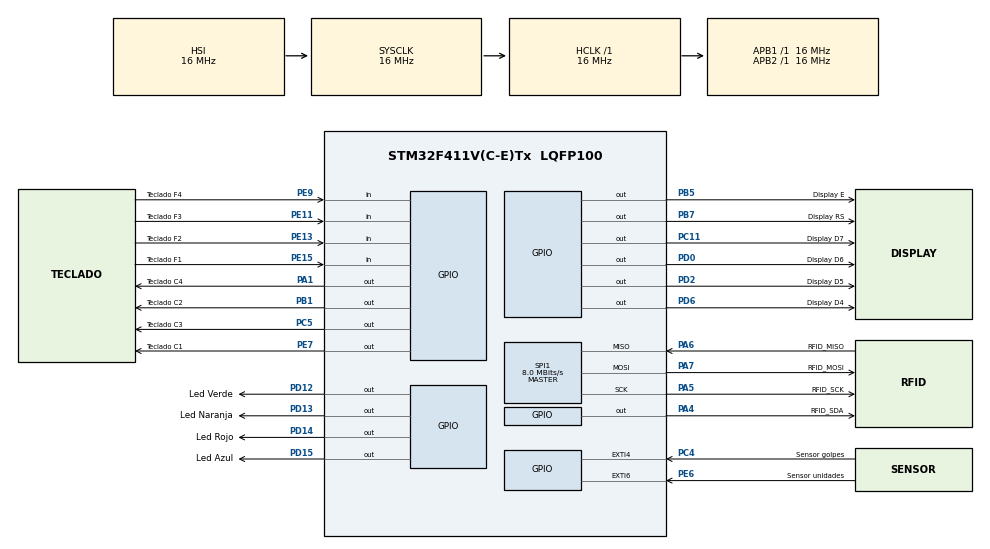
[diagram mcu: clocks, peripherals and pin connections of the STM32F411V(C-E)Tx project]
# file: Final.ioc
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Mcu.Family=STM32F4
Mcu.Name=STM32F411V(C-E)Tx
Mcu.Package=LQFP100
NVIC.EXTI4_IRQn=true\:0\:0\:false\:false\:true\:true
NVIC.EXTI9_5_IRQn=true\:0\:0\:false\:false\:true\:true
NVIC.PriorityGroup=NVIC_PRIORITYGROUP_4
NVIC.TIM3_IRQn=true\:0\:0\:false\:false\:true\:true
NVIC.TIM4_IRQn=true\:0\:0\:false\:false\:true\:true
PA1.GPIO_Label=Teclado C4
PA1.Signal=GPIO_Output
PA4.GPIO_Label=RFID_SDA
PA4.Signal=GPIO_Output
PA5.GPIO_Label=RFID_SCK
PA5.Mode=Full_Duplex_Master
PA5.Signal=SPI1_SCK
PA6.GPIO_Label=RFID_MISO
PA6.Mode=Full_Duplex_Master
PA6.Signal=SPI1_MISO
PA7.GPIO_Label=RFID_MOSI
PA7.Mode=Full_Duplex_Master
PA7.Signal=SPI1_MOSI
PB1.GPIO_Label=Teclado C2
PB1.Signal=GPIO_Output
PB5.GPIO_Label=Display E
PB5.GPIO_Speed=GPIO_SPEED_FREQ_HIGH
PB5.Signal=GPIO_Output
PB7.GPIO_Label=Display RS
PB7.GPIO_Speed=GPIO_SPEED_FREQ_HIGH
PB7.Signal=GPIO_Output
PC11.GPIO_Label=Display D7
PC11.GPIO_Speed=GPIO_SPEED_FREQ_HIGH
PC11.Signal=GPIO_Output
PC4.GPIO_Label=Sensor golpes
PC4.Signal=GPXTI4
PC5.GPIO_Label=Teclado C3
PC5.Signal=GPIO_Output
PD0.GPIO_Label=Display D6
PD0.GPIO_Speed=GPIO_SPEED_FREQ_HIGH
PD0.Signal=GPIO_Output
PD12.GPIO_Label=Led Verde
PD12.Signal=GPIO_Output
PD13.GPIO_Label=Led Naranja
PD13.Signal=GPIO_Output
PD14.GPIO_Label=Led Rojo
PD14.Signal=GPIO_Output
PD15.GPIO_Label=Led Azul
PD15.Signal=GPIO_Output
PD2.GPIO_Label=Display D5
PD2.GPIO_Speed=GPIO_SPEED_FREQ_HIGH
PD2.Signal=GPIO_Output
PD6.GPIO_Label=Display D4
PD6.GPIO_Speed=GPIO_SPEED_FREQ_HIGH
PD6.Signal=GPIO_Output
PE11.GPIO_Label=Teclado F3
PE11.Signal=GPIO_Input
PE13.GPIO_Label=Teclado F2
PE13.Signal=GPIO_Input
PE15.GPIO_Label=Teclado F1
PE15.Signal=GPIO_Input
PE6.GPIO_Label=Sensor unidades
PE6.Signal=GPXTI6
PE7.GPIO_Label=Teclado C1
PE7.Signal=GPIO_Output
PE9.GPIO_Label=Teclado F4
PE9.Signal=GPIO_Input
ProjectManager.HeapSize=0x200
ProjectManager.StackSize=0x400
ProjectManager.TargetToolchain=MDK-ARM V5
RCC.AHBFreq_Value=16000000
RCC.APB1Freq_Value=16000000
RCC.APB2Freq_Value=16000000
RCC.CortexFreq_Value=16000000
RCC.HSE_VALUE=25000000
RCC.HSI_VALUE=16000000
RCC.LSE_VALUE=32768
RCC.SYSCLKFreq_VALUE=16000000
RCC.VCOOutputFreq_Value=192000000
SPI1.CalculateBaudRate=8.0 MBits/s
SPI1.Direction=SPI_DIRECTION_2LINES
SPI1.Mode=SPI_MODE_MASTER
SPI1.VirtualType=VM_MASTER
TIM4.Period=16
VP_TIM3_VS_ClockSourceINT.Mode=Internal
VP_TIM4_VS_ClockSourceINT.Mode=Internal
board=Final

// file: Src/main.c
/**
  ******************************************************************************
  * @file           : main.c
  * @brief          : Main program body
  ******************************************************************************
  ** This notice applies to any and all portions of this file
  * that are not between comment pairs USER CODE BEGIN and
  * USER CODE END. Other portions of this file, whether
  * inserted by the user or by software development tools
  * are owned by their respective copyright owners.
  *
  * COPYRIGHT(c) 2019 STMicroelectronics
  *
  * Redistribution and use in source and binary forms, with or without modification,
  * are permitted provided that the following conditions are met:
  *   1. Redistributions of source code must retain the above copyright notice,
  *      this list of conditions and the following disclaimer.
  *   2. Redistributions in binary form must reproduce the above copyright notice,
  *      this list of conditions and the following disclaimer in the documentation
  *      and/or other materials provided with the distribution.
  *   3. Neither the name of STMicroelectronics nor the names of its contributors
  *      may be used to endorse or promote products derived from this software
  *      without specific prior written permission.
  *
  * THIS SOFTWARE IS PROVIDED BY THE COPYRIGHT HOLDERS AND CONTRIBUTORS "AS IS"
  * AND ANY EXPRESS OR IMPLIED WARRANTIES, INCLUDING, BUT NOT LIMITED TO, THE
  * IMPLIED WARRANTIES OF MERCHANTABILITY AND FITNESS FOR A PARTICULAR PURPOSE ARE
  * DISCLAIMED. IN NO EVENT SHALL THE COPYRIGHT HOLDER OR CONTRIBUTORS BE LIABLE
  * FOR ANY DIRECT, INDIRECT, INCIDENTAL, SPECIAL, EXEMPLARY, OR CONSEQUENTIAL
  * DAMAGES (INCLUDING, BUT NOT LIMITED TO, PROCUREMENT OF SUBSTITUTE GOODS OR
  * SERVICES; LOSS OF USE, DATA, OR PROFITS; OR BUSINESS INTERRUPTION) HOWEVER
  * CAUSED AND ON ANY THEORY OF LIABILITY, WHETHER IN CONTRACT, STRICT LIABILITY,
  * OR TORT (INCLUDING NEGLIGENCE OR OTHERWISE) ARISING IN ANY WAY OUT OF THE USE
  * OF THIS SOFTWARE, EVEN IF ADVISED OF THE POSSIBILITY OF SUCH DAMAGE.
  *
  ******************************************************************************
  */
#include "main.h"
#include "stm32f4xx_hal.h"

/* USER CODE BEGIN Includes */
#include "lcd_txt.h"
#include "rc522.h"
#include "MY_FLASH.h"

/* USER CODE END Includes */

SPI_HandleTypeDef hspi1;

TIM_HandleTypeDef htim3;
TIM_HandleTypeDef htim4;

/* USER CODE BEGIN PV */
/* Private variables ---------------------------------------------------------*/

#define Inicio 0
#define Menu_1 1
#define Menu_2 2
#define Menu_3 3
#define Menu_4 4
#define Menu_1x 5
#define Menu_21 6
#define Menu_22 7
#define Menu_3x 8
#define Menu_3x1 32
#define Menu_41 9
#define Menu_411 28
#define Menu_412 29
#define Menu_42 10
#define Menu_43 11
#define Menu_431 30
#define Menu_432 31
#define Menu_44 12
#define Menu_421 14
#define Menu_422 27
#define Menu_441 16
#define Menu_442 17
#define TrabajoEC_G 20 //Trabajo en curso - Golpes
#define TrabajoEC_U 21 //Trabajo en curso - Unidades
#define AgrOp_Maestro 22
#define AgrOp_Nuevo 23
#define AgrOp_Nombre 24
#define Err_TagExiste 25
#define Err_NMaestro 26

#define b_Arriba 1
#define b_Abajo 9
#define b_Derecha 6
#define b_Izquierda 4
#define b_Enter 14
#define b_Salir 12
#define b_A 3
#define b_B 7
#define b_C 11
#define b_D 15

//-----------------------
int ms_ar=30; //milisegundos anti-rebote
int tecla[16]={0,0,0,0,0,0,0,0,0,0,0,0,0,0,0,0};
int boton=0;
int operario_activo=20;
int operario_chequeado=0;
int operario_a_borrar=1;
int operario_a_master=1;
int i;
int state;
uint8_t leido;
uint8_t rxbuffer[16];
uint8_t txbuffer[16];
uint8_t CardID[5];
uint8_t MasterID[5] = {0,0,0,0,0};
char leer[32];
char escribir[640];
//-----------------------

struct Operario{
	short condicion; 		//Si condici�n==0, el operario NO est� cargado.
											//Si condici�n==1, el operario SI est� cargado pero NO es master.
											//Si condici�n==2, el operario SI est� cargado y SI es master.
	char nombre[9];
	char id[5];
	int golpes;
	int unidades;
	short productividad;
} operarios[20];

long cont_unidades=0;
long cont_golpes=0;
char str_golpes[17];
char str_unidades[17];
long total_golpes=0;
long total_unidades=0;
char id_display[11];
char str_productividad[17];
int f_unidades=0;
int f_confirmacion=0;
int flag=0;
int evento=0;

int f_boton=0; // flag boton presionado
int f_sensor=0;
int f_tarjeta=0;
int instancia=0;
/* USER CODE END PV */

void SystemClock_Config(void);
static void MX_GPIO_Init(void);
static void MX_TIM4_Init(void);
static void MX_TIM3_Init(void);
static void MX_SPI1_Init(void);

/* USER CODE BEGIN PFP */
/* Private function prototypes -----------------------------------------------*/
void delayus_block(int n);
void encuesta_teclado(void);
void display_escribir(char* linea1 ,char* linea2);
void display_unidades(void);
void introducir_texto(void);
void conv_hex(void);
void flash_guardar_operarios(void);
void flash_guardar_actual(int operario);
void flash_cargar_operarios(void);

uint8_t MFRC522_Check(uint8_t* id);
uint8_t MFRC522_Compare(uint8_t* CardID, uint8_t* CompareID);
void MFRC522_WriteRegister(uint8_t addr, uint8_t val);
uint8_t MFRC522_ReadRegister(uint8_t addr);
void MFRC522_SetBitMask(uint8_t reg, uint8_t mask);
void MFRC522_ClearBitMask(uint8_t reg, uint8_t mask);
uint8_t MFRC522_Request(uint8_t reqMode, uint8_t* TagType);
uint8_t MFRC522_ToCard(uint8_t command, uint8_t* sendData, uint8_t sendLen, uint8_t* backData, uint16_t* backLen);
uint8_t MFRC522_Anticoll(uint8_t* serNum);
void MFRC522_CalulateCRC(uint8_t* pIndata, uint8_t len, uint8_t* pOutData);
uint8_t MFRC522_SelectTag(uint8_t* serNum);
uint8_t MFRC522_Auth(uint8_t authMode, uint8_t BlockAddr, uint8_t* Sectorkey, uint8_t* serNum);
uint8_t MFRC522_Read(uint8_t blockAddr, uint8_t* recvData);
uint8_t MFRC522_Write(uint8_t blockAddr, uint8_t* writeData);
void MFRC522_Init(void);
void MFRC522_Reset(void);
void MFRC522_AntennaOn(void);
void MFRC522_AntennaOff(void);
void MFRC522_Halt(void);

/* USER CODE END PFP */

int main(void)
{

  /* MCU Configuration----------------------------------------------------------*/

  /* Reset of all peripherals, Initializes the Flash interface and the Systick. */
  HAL_Init();

  /* Configure the system clock */
  SystemClock_Config();

  /* Initialize all configured peripherals */
  MX_GPIO_Init();
  MX_TIM4_Init();
  MX_TIM3_Init();
  MX_SPI1_Init();
  /* USER CODE BEGIN 2 */

	LCD_ini();
	HAL_Delay(3);
	LCD_Clear();
	HAL_Delay(3);
	LCD_SetPos(0,0);
	HAL_Delay(3);
	LCD_CursorOff();
	HAL_Delay(3);

	MFRC522_Init();

	//TECLADO - Apago todo
	HAL_GPIO_WritePin(Teclado_C1_GPIO_Port, Teclado_C1_Pin, GPIO_PIN_RESET);
	HAL_GPIO_WritePin(Teclado_C2_GPIO_Port, Teclado_C2_Pin, GPIO_PIN_RESET);
	HAL_GPIO_WritePin(Teclado_C3_GPIO_Port, Teclado_C3_Pin, GPIO_PIN_RESET);
	HAL_GPIO_WritePin(Teclado_C4_GPIO_Port, Teclado_C4_Pin, GPIO_PIN_RESET);

	//Carga de operarios de tarjetas

//	Secuencia de borrado que fue necesaria para inicializar la parte que voy a usar de la flash.
//	uint8_t borrar[640];
//	for(int l=0;l<640;l++){
//		borrar[l]=0;
//	}
//	MY_FLASH_WriteN(640,borrar,32,DATA_TYPE_8);
	flash_cargar_operarios();

//	sprintf(operarios[1].nombre,"LIDER");
//
//	operarios[1].id[0] = 0xD4;
//	operarios[1].id[1] = 0x8E;
//	operarios[1].id[2] = 0x70;
//	operarios[1].id[3] = 0x1F;
//	operarios[1].id[4] = 0x35;
//	operarios[1].condicion = 1;

//	sprintf(operarios[0].nombre,"JULI");
//
//	operarios[0].id[0] = 0x49;
//	operarios[0].id[1] = 0x23;
//	operarios[0].id[2] = 0x2F;
//	operarios[0].id[3] = 0x63;
//	operarios[0].id[4] = 0x26;
//	operarios[0].condicion = 2;

	//flash_guardar_operarios();
	//operarios[2].condicion = 0; // NO OLVIDAR QUITAR ESTA LINEA DE PRUEBA

	display_escribir("INICIO DE","LA MAQUINA");
  instancia= Inicio;

  /* USER CODE END 2 */

  /* Infinite loop */
  /* USER CODE BEGIN WHILE */
  while (1)  {

		//Encuesta teclado
		encuesta_teclado();

		if(f_boton){
			switch(boton){
				case b_Derecha:
					switch(instancia){
						case Inicio:
							instancia=Menu_1;
							display_escribir("1.OPERARIOS", "  ID TARJETA");
							break;

						case Menu_1:
							instancia=Menu_2;
							display_escribir("2.TOTALES", "");
							break;

						case Menu_2:
							instancia=Menu_3;
							display_escribir("3.PRODUCTIVIDAD", "");
							break;

						case Menu_3:
							instancia=Menu_4;
							display_escribir("4.CONFIGURACION", "");
							break;

						case Menu_4:
							instancia=Inicio;
							display_escribir("0.INICIO", "");
							break;

						case Menu_1x:
							do{
								if(operario_chequeado==19){
									operario_chequeado=0;
								} else {
									operario_chequeado++;
								}
							} while(!operarios[operario_chequeado].condicion);
							conv_hex();
							display_escribir(operarios[operario_chequeado].nombre, id_display);
							break;

						case Menu_21:
							instancia=Menu_22;
							total_unidades=0;
							for (int i=0;i<20;i++){
								if(operarios[i].condicion){
									total_unidades+=operarios[i].unidades;
								}
							}
							sprintf(str_unidades, "%ld", total_unidades);
							display_escribir("2.2.TOT UNIDADES",str_unidades);
							break;

						case Menu_22:
							instancia=Menu_21;
							total_golpes=0;
							for (int i=0;i<20;i++){
								if(operarios[i].condicion){
									total_golpes+=operarios[i].golpes;
								}
							}
							sprintf(str_golpes, "%ld", total_golpes);
							display_escribir("2.1. TOT GOLPES",str_golpes);
							break;

						case Menu_3x:
							do{
								if(operario_chequeado==19){
									operario_chequeado=0;
								} else {
									operario_chequeado++;
								}
							} while(!operarios[operario_chequeado].condicion);
							sprintf(str_productividad, "%d %%", operarios[operario_chequeado].productividad);
							display_escribir(operarios[operario_chequeado].nombre, str_productividad);
							break;

						case Menu_41:
							instancia=Menu_42;
							display_escribir("4.2.RESET","    TOTALES");
							break;

						case Menu_42:
							instancia=Menu_43;
							display_escribir("4.3.ALTA","    TAG MAESTRO");
							break;

						case Menu_43:
							instancia=Menu_44;
							display_escribir("4.4.ALTA","    OPERARIO");
							break;

						case Menu_44:
							instancia=Menu_41;
							display_escribir("4.1.BORRAR","    OPERARIO");
							break;

						case Menu_411:
							do{
								if(operario_chequeado==19){
									operario_chequeado=1;
								} else {
									operario_chequeado++;
								}
							} while(!operarios[operario_chequeado].condicion);
							display_escribir("BORRAR OPERARIO", operarios[operario_chequeado].nombre);
							break;

						case Menu_431:
							do{
								if(operario_chequeado==19){
									operario_chequeado=1;
								} else {
									operario_chequeado++;
								}
							} while(!operarios[operario_chequeado].condicion);
							display_escribir("ALTA MAESTRO", operarios[operario_chequeado].nombre);
							break;
					}
					break; //Sale de switch(boton)

				case b_Izquierda:
					switch(instancia){
						case Inicio:
							instancia=Menu_4;
							display_escribir("4.CONFIGURACION", "");
							break;

						case Menu_1:
							instancia=Inicio;
							display_escribir("0.INICIO", "");
							break;

						case Menu_2:
							instancia=Menu_1;
							display_escribir("1.OPERARIOS", "  ID TARJETA");
							break;

						case Menu_3:
							instancia=Menu_2;
							display_escribir("2.TOTALES", "");
							break;

						case Menu_4:
							instancia=Menu_3;
							display_escribir("3.PRODUCTIVIDAD", "");
							break;

						case Menu_1x:
							do{
								if(!operario_chequeado){
									operario_chequeado=19;
								} else {
									operario_chequeado--;
								}
							} while(!operarios[operario_chequeado].condicion);
							conv_hex();
							display_escribir(operarios[operario_chequeado].nombre, id_display);
							break;

						case Menu_21:
							instancia=Menu_22;
							total_unidades=0;
							for (int i=0;i<20;i++){
								if(operarios[i].condicion){
									total_unidades+=operarios[i].unidades;
								}
							}
							sprintf(str_unidades, "%ld", total_unidades);
							display_escribir("2.2.TOT UNIDADES",str_unidades);
							break;

						case Menu_22:
							instancia=Menu_21;
							total_golpes=0;
							for (int i=0;i<20;i++){
								if(operarios[i].condicion){
									total_golpes+=operarios[i].golpes;
								}
							}
							sprintf(str_golpes, "%ld", total_golpes);
							display_escribir("2.1. TOT GOLPES",str_golpes);
							break;

						case Menu_3x:
							do{
								if(!operario_chequeado){
									operario_chequeado=19;
								} else {
									operario_chequeado--;
								}
							} while(!operarios[operario_chequeado].condicion);
							sprintf(str_productividad, "%d %%", operarios[operario_chequeado].productividad);
							display_escribir(operarios[operario_chequeado].nombre, str_productividad);
							break;

						case Menu_41:
							instancia=Menu_44;
							display_escribir("4.4.ALTA","    OPERARIO");
							break;

						case Menu_42:
							instancia=Menu_41;
							display_escribir("4.1.BORRAR","    OPERARIO");
							break;

						case Menu_43:
							instancia=Menu_42;
							display_escribir("4.2.RESET","    TOTALES");
							break;

						case Menu_44:
							instancia=Menu_43;
							display_escribir("4.3.ALTA","    TAG MAESTRO");
							break;

						case Menu_411:
							do{
								if(operario_chequeado==1){
									operario_chequeado=19;
								} else {
									operario_chequeado--;
								}
							} while(!operarios[operario_chequeado].condicion);
							display_escribir("BORRAR OPERARIO", operarios[operario_chequeado].nombre);
							break;

						case Menu_431:
							do{
								if(operario_chequeado==1){
									operario_chequeado=19;
								} else {
									operario_chequeado--;
								}
							} while(!operarios[operario_chequeado].condicion);
							display_escribir("ALTA MAESTRO", operarios[operario_chequeado].nombre);
							break;
					}
					break; //Sale de switch(boton)

				case b_Abajo:
					switch(instancia){
						case Inicio:
							break;

						case Menu_1:
							instancia=Menu_1x;
							operario_chequeado=0;
							conv_hex();
							display_escribir(operarios[operario_chequeado].nombre, id_display);
							break;

						case Menu_2:
							instancia=Menu_21;
							total_golpes=0;
							for (int i=0;i<20;i++){
								if(operarios[i].condicion){
									total_golpes+=operarios[i].golpes;
								}
							}
							sprintf(str_golpes, "%ld", total_golpes);
							display_escribir("2.1. TOT GOLPES",str_golpes);
							break;

						case Menu_3:
							instancia=Menu_3x;
							sprintf(str_productividad, "%d %%",operarios[0].productividad);
							display_escribir(operarios[0].nombre, str_productividad);
							break;

						case Menu_3x:
							instancia=Menu_3x1;
							sprintf(str_unidades, "%ld", operarios[operario_chequeado].unidades);
							display_escribir("UNIDADES",str_unidades);
							break;

						case Menu_4:
							instancia=Menu_41;
							display_escribir("4.1.BORRAR","    OPERARIO");
							break;

					}
					break; //Sale de switch(boton)

				case b_Arriba:
					switch(instancia){
						case Menu_1x:
							instancia=Menu_1;
							display_escribir("1.OPERARIOS", "  ID TARJETA");
							break;

						case Menu_21:
							instancia=Menu_2;
							display_escribir("2.TOTALES", "");
							break;

						case Menu_22:
							instancia=Menu_2;
							display_escribir("2.TOTALES", "");
							break;

						case Menu_3x:
							instancia=Menu_3;
							display_escribir("3.PRODUCTIVIDAD", "");
							break;

						case Menu_3x1:
							instancia=Menu_3x;
							sprintf(str_productividad, "%d %%",operarios[0].productividad);
							display_escribir(operarios[0].nombre, str_productividad);
							break;

						case Menu_41:
							instancia=Menu_4;
							display_escribir("4.CONFIGURACION", "");
							break;

						case Menu_42:
							instancia=Menu_4;
							display_escribir("4.CONFIGURACION", "");
							break;

						case Menu_43:
							instancia=Menu_4;
							display_escribir("4.CONFIGURACION", "");
							break;

						case Menu_44:
							instancia=Menu_4;
							display_escribir("4.CONFIGURACION", "");
							break;

					}
					break; //Sale de switch(boton)

				case b_Enter:
					switch(instancia){
						case Inicio:
							break;

						case Menu_1:
							instancia=Menu_1x;
							operario_chequeado=0;
							conv_hex();
							display_escribir(operarios[operario_chequeado].nombre, id_display);
							break;

						case Menu_2:
							instancia=Menu_21;
							total_golpes=0;
							for (int i=0;i<20;i++){
								if(operarios[i].condicion){
									total_golpes+=operarios[i].golpes;
								}
							}
							sprintf(str_golpes, "%ld", total_golpes);
							display_escribir("2.1. TOT GOLPES",str_golpes);
							break;

						case Menu_3:
							instancia=Menu_3x;
							sprintf(str_productividad, "%d %%",operarios[0].productividad);
							display_escribir(operarios[0].nombre, str_productividad);
							break;

						case Menu_3x:
							instancia=Menu_3x1;
							sprintf(str_unidades, "%ld", operarios[operario_chequeado].unidades);
							display_escribir("UNIDADES",str_unidades);
							break;

						case Menu_4:
							instancia=Menu_41;
							display_escribir("4.1.BORRAR","    OPERARIO");
							break;

						case Menu_41:
							instancia=Menu_411;
							operario_chequeado=1;
							display_escribir("BORRAR OPERARIO", operarios[operario_chequeado].nombre);
							break;

						case Menu_411:
							instancia=Menu_412;
							operario_a_borrar=operario_chequeado;
							display_escribir("PARA CONFIRMAR", "PASE TAG MAESTRO");
							break;

						case Menu_42:
							instancia=Menu_421;
							display_escribir("PARA CONFIRMAR", "PASE TAG MAESTRO");
							break;

						case Menu_43:
							instancia=Menu_431;
							operario_chequeado=1;
							display_escribir("ALTA MAESTRO", operarios[operario_chequeado].nombre);
							break;

						case Menu_431:
							instancia=Menu_432;
							operario_a_master=operario_chequeado;
							display_escribir("PARA CONFIRMAR", "PASE TAG MAESTRO");
							break;

						case Menu_44:
							instancia=Menu_441;
							display_escribir("AGREGAR OPERARIO", "PASE TAG MAESTRO");
							break;

					}
					break; //Sale de switch(boton)

				case b_Salir: //Ac� tengo que reinicializar todos los flags que levante en el desarrollo
					instancia=Inicio;
					display_escribir("0.INICIO", "");
					break; //Sale de switch(boton)

			}  //switch(boton)

		}	//rutina boton

		if(f_sensor){//RESETEAR EL CONTADOR CUANDO CAMBIA DE OPERARIO.
			if(operario_activo!=20){
				if(f_unidades){
					cont_unidades++;
					operarios[operario_activo].unidades++;
					sprintf(str_unidades, "%ld", cont_unidades);
					display_escribir("ACTUAL: UNIDADES",str_unidades);
				}else{
					cont_golpes++;
					operarios[operario_activo].golpes++;
					sprintf(str_golpes, "%ld", cont_golpes);
					display_escribir("ACTUAL: GOLPES",str_golpes);
				}
				if(operarios[operario_activo].golpes){
				operarios[operario_activo].productividad=100*operarios[operario_activo].unidades/operarios[operario_activo].golpes;
				}
			}
			f_sensor=0;
		}

		if(MFRC522_Check(CardID) == MI_OK){
			//Si se acerca una tarjeta puede ser para... Iniciar un trabajo, o bien, dar de alta una tarjeta.
			switch(instancia){
				case Menu_441:
					for(int n=0;n<20;n++){
						if(MFRC522_Compare(CardID,operarios[n].id)== MI_OK){
							operario_chequeado=n;
						}
					}
					if(operarios[operario_chequeado].condicion==2){
						instancia=Menu_442;
						for(int k=0;k<5;k++){
							MasterID[k]=CardID[k];
						}
						display_escribir("AGREGAR OPERARIO", "PASE TAG NUEVO");
					} else {
						instancia=Inicio;
						display_escribir("AGREGAR OPERARIO", "ERR TAG MAESTRO");
					}
					break;

				case Menu_412:
					for(int n=0;n<20;n++){
						if(MFRC522_Compare(CardID,operarios[n].id)== MI_OK){
							operario_chequeado=n;
						}
					}
					if(operarios[operario_chequeado].condicion==2){
						instancia=Inicio;
						operarios[operario_a_borrar].condicion=0;
						flash_guardar_operarios();
						display_escribir("BORRAR OPERARIO","CORRECTO");
					} else {
						instancia=Inicio;
						display_escribir("BORRAR OPERARIO", "ERR TAG MAESTRO");
					}
					break;

				case Menu_421:
					for(int n=0;n<20;n++){
						if(MFRC522_Compare(CardID,operarios[n].id)== MI_OK){
							operario_chequeado=n;
						}
					}
					if(operarios[operario_chequeado].condicion==2){
						instancia=Inicio;
						for(int n=0;n<20;n++){
							operarios[n].golpes=0;
							operarios[n].unidades=0;
							operarios[n].productividad=0;
						}
						flash_guardar_operarios();
						display_escribir("RESET TOTALES","CORRECTO");
					} else {
						instancia=Inicio;
						display_escribir("RESET TOTALES", "ERR TAG MAESTRO");
					}
					break;

				case Menu_432:
					for(int n=0;n<20;n++){
						if(MFRC522_Compare(CardID,operarios[n].id)== MI_OK){
							operario_chequeado=n;
						}
					}
					if(operarios[operario_chequeado].condicion==2){
						instancia=Inicio;
						operarios[operario_a_master].condicion=2;
						flash_guardar_operarios();
						display_escribir("ALTA MAESTRO","CORRECTO");
					} else {
						instancia=Inicio;
						display_escribir("ALTA MAESTRO", "ERR TAG MAESTRO");
					}
					break;

				case Menu_442:
					instancia=Inicio;
					if(MFRC522_Compare(CardID,MasterID)!=MI_OK){
						introducir_texto();
					}
					break;

				default:
					if(operario_activo==20){
						operario_activo=20;
						for(int n=0;n<20;n++){//Busca una coincidencia de la tarjeta leida con la de algun operario guardado
							if(MFRC522_Compare(CardID,operarios[n].id)== MI_OK){
								operario_activo=n;
							}
						}
						if(operario_activo!=20){
							display_escribir("INICIA TRABAJO",operarios[operario_activo].nombre);
							HAL_Delay(100);
						}
					}else{
						if(MFRC522_Compare(CardID,operarios[operario_activo].id)== MI_OK){
							display_escribir("CIERRA TRABAJO",operarios[operario_activo].nombre);
							operario_activo=20;
							flash_guardar_operarios();
							cont_golpes=0;
							cont_unidades=0;
						}
					}
					break;

			} // Sale del switch (instancia)

		}//Sale de rutina de tarjeta

/* Esto son los antirrebotes, lo tengo que analizar a lo ultimo
//-------	Seccion teclado -----------
		if(!ms_ar&&f_boton_pres){
			if(f_boton_pres){
				if(!(ms_ar)&&f_boton_pres){
					f_boton_pres=0;
					get_boton();
					if(!col) display_tecla();
					HAL_GPIO_WritePin(GPIOE,0x0F00,GPIO_PIN_SET);
				}
			}
		}
		//---------------------------------------
		//		if(!ms_ar&&f_unidades){
		if(f_unidades){
		if(!(ms_ar)&&f_unidades){
			f_unidades=0;
			cont_unidades++;
			display_unidades();
		}
		*/

  /* USER CODE END WHILE */

  /* USER CODE BEGIN 3 */

  } // End while(1)
  /* USER CODE END 3 */

}

void SystemClock_Config(void)
{

  RCC_OscInitTypeDef RCC_OscInitStruct;
  RCC_ClkInitTypeDef RCC_ClkInitStruct;

    /**Configure the main internal regulator output voltage
    */
  __HAL_RCC_PWR_CLK_ENABLE();

  __HAL_PWR_VOLTAGESCALING_CONFIG(PWR_REGULATOR_VOLTAGE_SCALE1);

    /**Initializes the CPU, AHB and APB busses clocks
    */
  RCC_OscInitStruct.OscillatorType = RCC_OSCILLATORTYPE_HSI;
  RCC_OscInitStruct.HSIState = RCC_HSI_ON;
  RCC_OscInitStruct.HSICalibrationValue = 16;
  RCC_OscInitStruct.PLL.PLLState = RCC_PLL_NONE;
  if (HAL_RCC_OscConfig(&RCC_OscInitStruct) != HAL_OK)
  {
    _Error_Handler(__FILE__, __LINE__);
  }

    /**Initializes the CPU, AHB and APB busses clocks
    */
  RCC_ClkInitStruct.ClockType = RCC_CLOCKTYPE_HCLK|RCC_CLOCKTYPE_SYSCLK
                              |RCC_CLOCKTYPE_PCLK1|RCC_CLOCKTYPE_PCLK2;
  RCC_ClkInitStruct.SYSCLKSource = RCC_SYSCLKSOURCE_HSI;
  RCC_ClkInitStruct.AHBCLKDivider = RCC_SYSCLK_DIV1;
  RCC_ClkInitStruct.APB1CLKDivider = RCC_HCLK_DIV1;
  RCC_ClkInitStruct.APB2CLKDivider = RCC_HCLK_DIV1;

  if (HAL_RCC_ClockConfig(&RCC_ClkInitStruct, FLASH_LATENCY_0) != HAL_OK)
  {
    _Error_Handler(__FILE__, __LINE__);
  }

    /**Configure the Systick interrupt time
    */
  HAL_SYSTICK_Config(HAL_RCC_GetHCLKFreq()/1000);

    /**Configure the Systick
    */
  HAL_SYSTICK_CLKSourceConfig(SYSTICK_CLKSOURCE_HCLK);

  /* SysTick_IRQn interrupt configuration */
  HAL_NVIC_SetPriority(SysTick_IRQn, 0, 0);
}

/* SPI1 init function */
static void MX_SPI1_Init(void)
{

  /* SPI1 parameter configuration*/
  hspi1.Instance = SPI1;
  hspi1.Init.Mode = SPI_MODE_MASTER;
  hspi1.Init.Direction = SPI_DIRECTION_2LINES;
  hspi1.Init.DataSize = SPI_DATASIZE_8BIT;
  hspi1.Init.CLKPolarity = SPI_POLARITY_LOW;
  hspi1.Init.CLKPhase = SPI_PHASE_1EDGE;
  hspi1.Init.NSS = SPI_NSS_SOFT;
  hspi1.Init.BaudRatePrescaler = SPI_BAUDRATEPRESCALER_2;
  hspi1.Init.FirstBit = SPI_FIRSTBIT_MSB;
  hspi1.Init.TIMode = SPI_TIMODE_DISABLE;
  hspi1.Init.CRCCalculation = SPI_CRCCALCULATION_DISABLE;
  hspi1.Init.CRCPolynomial = 10;
  if (HAL_SPI_Init(&hspi1) != HAL_OK)
  {
    _Error_Handler(__FILE__, __LINE__);
  }

}

/* TIM3 init function */
static void MX_TIM3_Init(void)
{

  TIM_ClockConfigTypeDef sClockSourceConfig;
  TIM_MasterConfigTypeDef sMasterConfig;

  htim3.Instance = TIM3;
  htim3.Init.Prescaler = 0;
  htim3.Init.CounterMode = TIM_COUNTERMODE_UP;
  htim3.Init.Period = 0;
  htim3.Init.ClockDivision = TIM_CLOCKDIVISION_DIV1;
  if (HAL_TIM_Base_Init(&htim3) != HAL_OK)
  {
    _Error_Handler(__FILE__, __LINE__);
  }

  sClockSourceConfig.ClockSource = TIM_CLOCKSOURCE_INTERNAL;
  if (HAL_TIM_ConfigClockSource(&htim3, &sClockSourceConfig) != HAL_OK)
  {
    _Error_Handler(__FILE__, __LINE__);
  }

  sMasterConfig.MasterOutputTrigger = TIM_TRGO_RESET;
  sMasterConfig.MasterSlaveMode = TIM_MASTERSLAVEMODE_DISABLE;
  if (HAL_TIMEx_MasterConfigSynchronization(&htim3, &sMasterConfig) != HAL_OK)
  {
    _Error_Handler(__FILE__, __LINE__);
  }

}

/* TIM4 init function */
static void MX_TIM4_Init(void)
{

  TIM_ClockConfigTypeDef sClockSourceConfig;
  TIM_MasterConfigTypeDef sMasterConfig;

  htim4.Instance = TIM4;
  htim4.Init.Prescaler = 0;
  htim4.Init.CounterMode = TIM_COUNTERMODE_UP;
  htim4.Init.Period = 16;
  htim4.Init.ClockDivision = TIM_CLOCKDIVISION_DIV1;
  if (HAL_TIM_Base_Init(&htim4) != HAL_OK)
  {
    _Error_Handler(__FILE__, __LINE__);
  }

  sClockSourceConfig.ClockSource = TIM_CLOCKSOURCE_INTERNAL;
  if (HAL_TIM_ConfigClockSource(&htim4, &sClockSourceConfig) != HAL_OK)
  {
    _Error_Handler(__FILE__, __LINE__);
  }

  sMasterConfig.MasterOutputTrigger = TIM_TRGO_RESET;
  sMasterConfig.MasterSlaveMode = TIM_MASTERSLAVEMODE_DISABLE;
  if (HAL_TIMEx_MasterConfigSynchronization(&htim4, &sMasterConfig) != HAL_OK)
  {
    _Error_Handler(__FILE__, __LINE__);
  }

}

/** Configure pins as
        * Analog
        * Input
        * Output
        * EVENT_OUT
        * EXTI
*/
static void MX_GPIO_Init(void)
{

  GPIO_InitTypeDef GPIO_InitStruct;

  /* GPIO Ports Clock Enable */
  __HAL_RCC_GPIOE_CLK_ENABLE();
  __HAL_RCC_GPIOA_CLK_ENABLE();
  __HAL_RCC_GPIOC_CLK_ENABLE();
  __HAL_RCC_GPIOB_CLK_ENABLE();
  __HAL_RCC_GPIOD_CLK_ENABLE();

  /*Configure GPIO pin Output Level */
  HAL_GPIO_WritePin(GPIOA, Teclado_C4_Pin|RFID_SDA_Pin, GPIO_PIN_RESET);

  /*Configure GPIO pin Output Level */
  HAL_GPIO_WritePin(GPIOC, Teclado_C3_Pin|Display_D7_Pin, GPIO_PIN_RESET);

  /*Configure GPIO pin Output Level */
  HAL_GPIO_WritePin(GPIOB, Teclado_C2_Pin|Display_E_Pin|Display_RS_Pin, GPIO_PIN_RESET);

  /*Configure GPIO pin Output Level */
  HAL_GPIO_WritePin(Teclado_C1_GPIO_Port, Teclado_C1_Pin, GPIO_PIN_RESET);

  /*Configure GPIO pin Output Level */
  HAL_GPIO_WritePin(GPIOD, Led_Verde_Pin|Led_Naranja_Pin|Led_Rojo_Pin|Led_Azul_Pin
                          |Display_D6_Pin|Display_D5_Pin|Display_D4_Pin, GPIO_PIN_RESET);

  /*Configure GPIO pin : Sensor_unidades_Pin */
  GPIO_InitStruct.Pin = Sensor_unidades_Pin;
  GPIO_InitStruct.Mode = GPIO_MODE_IT_RISING;
  GPIO_InitStruct.Pull = GPIO_NOPULL;
  HAL_GPIO_Init(Sensor_unidades_GPIO_Port, &GPIO_InitStruct);

  /*Configure GPIO pins : Teclado_C4_Pin RFID_SDA_Pin */
  GPIO_InitStruct.Pin = Teclado_C4_Pin|RFID_SDA_Pin;
  GPIO_InitStruct.Mode = GPIO_MODE_OUTPUT_PP;
  GPIO_InitStruct.Pull = GPIO_NOPULL;
  GPIO_InitStruct.Speed = GPIO_SPEED_FREQ_LOW;
  HAL_GPIO_Init(GPIOA, &GPIO_InitStruct);

  /*Configure GPIO pin : Sensor_golpes_Pin */
  GPIO_InitStruct.Pin = Sensor_golpes_Pin;
  GPIO_InitStruct.Mode = GPIO_MODE_IT_RISING;
  GPIO_InitStruct.Pull = GPIO_NOPULL;
  HAL_GPIO_Init(Sensor_golpes_GPIO_Port, &GPIO_InitStruct);

  /*Configure GPIO pin : Teclado_C3_Pin */
  GPIO_InitStruct.Pin = Teclado_C3_Pin;
  GPIO_InitStruct.Mode = GPIO_MODE_OUTPUT_PP;
  GPIO_InitStruct.Pull = GPIO_NOPULL;
  GPIO_InitStruct.Speed = GPIO_SPEED_FREQ_LOW;
  HAL_GPIO_Init(Teclado_C3_GPIO_Port, &GPIO_InitStruct);

  /*Configure GPIO pin : Teclado_C2_Pin */
  GPIO_InitStruct.Pin = Teclado_C2_Pin;
  GPIO_InitStruct.Mode = GPIO_MODE_OUTPUT_PP;
  GPIO_InitStruct.Pull = GPIO_NOPULL;
  GPIO_InitStruct.Speed = GPIO_SPEED_FREQ_LOW;
  HAL_GPIO_Init(Teclado_C2_GPIO_Port, &GPIO_InitStruct);

  /*Configure GPIO pin : Teclado_C1_Pin */
  GPIO_InitStruct.Pin = Teclado_C1_Pin;
  GPIO_InitStruct.Mode = GPIO_MODE_OUTPUT_PP;
  GPIO_InitStruct.Pull = GPIO_NOPULL;
  GPIO_InitStruct.Speed = GPIO_SPEED_FREQ_LOW;
  HAL_GPIO_Init(Teclado_C1_GPIO_Port, &GPIO_InitStruct);

  /*Configure GPIO pins : Teclado_F4_Pin Teclado_F3_Pin Teclado_F2_Pin Teclado_F1_Pin */
  GPIO_InitStruct.Pin = Teclado_F4_Pin|Teclado_F3_Pin|Teclado_F2_Pin|Teclado_F1_Pin;
  GPIO_InitStruct.Mode = GPIO_MODE_INPUT;
  GPIO_InitStruct.Pull = GPIO_NOPULL;
  HAL_GPIO_Init(GPIOE, &GPIO_InitStruct);

  /*Configure GPIO pins : Led_Verde_Pin Led_Naranja_Pin Led_Rojo_Pin Led_Azul_Pin */
  GPIO_InitStruct.Pin = Led_Verde_Pin|Led_Naranja_Pin|Led_Rojo_Pin|Led_Azul_Pin;
  GPIO_InitStruct.Mode = GPIO_MODE_OUTPUT_PP;
  GPIO_InitStruct.Pull = GPIO_NOPULL;
  GPIO_InitStruct.Speed = GPIO_SPEED_FREQ_LOW;
  HAL_GPIO_Init(GPIOD, &GPIO_InitStruct);

  /*Configure GPIO pin : Display_D7_Pin */
  GPIO_InitStruct.Pin = Display_D7_Pin;
  GPIO_InitStruct.Mode = GPIO_MODE_OUTPUT_PP;
  GPIO_InitStruct.Pull = GPIO_NOPULL;
  GPIO_InitStruct.Speed = GPIO_SPEED_FREQ_HIGH;
  HAL_GPIO_Init(Display_D7_GPIO_Port, &GPIO_InitStruct);

  /*Configure GPIO pins : Display_D6_Pin Display_D5_Pin Display_D4_Pin */
  GPIO_InitStruct.Pin = Display_D6_Pin|Display_D5_Pin|Display_D4_Pin;
  GPIO_InitStruct.Mode = GPIO_MODE_OUTPUT_PP;
  GPIO_InitStruct.Pull = GPIO_NOPULL;
  GPIO_InitStruct.Speed = GPIO_SPEED_FREQ_HIGH;
  HAL_GPIO_Init(GPIOD, &GPIO_InitStruct);

  /*Configure GPIO pins : Display_E_Pin Display_RS_Pin */
  GPIO_InitStruct.Pin = Display_E_Pin|Display_RS_Pin;
  GPIO_InitStruct.Mode = GPIO_MODE_OUTPUT_PP;
  GPIO_InitStruct.Pull = GPIO_NOPULL;
  GPIO_InitStruct.Speed = GPIO_SPEED_FREQ_HIGH;
  HAL_GPIO_Init(GPIOB, &GPIO_InitStruct);

  /* EXTI interrupt init*/
  HAL_NVIC_SetPriority(EXTI4_IRQn, 0, 0);
  HAL_NVIC_EnableIRQ(EXTI4_IRQn);

  HAL_NVIC_SetPriority(EXTI9_5_IRQn, 0, 0);
  HAL_NVIC_EnableIRQ(EXTI9_5_IRQn);

}

/* USER CODE BEGIN 4 */

//----------------IT CALLBACK FUNCTIONS------------------//
void HAL_TIM_PeriodElapsedCallback(TIM_HandleTypeDef *htim){
	HAL_TIM_Base_Stop_IT(&htim4);
	flag=1;
}

void HAL_GPIO_EXTI_Callback (uint16_t GPIO_Pin){
	HAL_GPIO_TogglePin(Led_Naranja_GPIO_Port, Led_Naranja_Pin);
	if(GPIO_Pin==Sensor_golpes_Pin){
		f_sensor=1;
		f_unidades=0;

	}else if(GPIO_Pin==Sensor_unidades_Pin){
		f_sensor=1;
		f_unidades=1;

	}
}

void HAL_SYSTICK_Callback(void){
	//if (f_boton==1||f_unidades) ms_ar--;
}
void delayus_block(int n){
	if (n) {
		flag = 0;
		htim4.Init.Period = (16*n);
		if (HAL_TIM_Base_Init(&htim4) != HAL_OK)
		{
			_Error_Handler(__FILE__, __LINE__);
		}
		HAL_TIM_Base_Start_IT(&htim4);
		while(flag == 0) {		}
	}
}

//------------END IT CALLBACK FUNCTIONS------------------//

//------------TECLADO FUNCTIONS------------------------------//

void encuesta_teclado(void){

	//Prendo la Columna 1, veo si se activ� alguna entrada y luego la apago.
		HAL_GPIO_WritePin(Teclado_C1_GPIO_Port, Teclado_C1_Pin, GPIO_PIN_SET);
		tecla[0]= 	HAL_GPIO_ReadPin(Teclado_F1_GPIO_Port, Teclado_F1_Pin);
		tecla[4]= 	HAL_GPIO_ReadPin(Teclado_F2_GPIO_Port, Teclado_F2_Pin);
		tecla[8]= 	HAL_GPIO_ReadPin(Teclado_F3_GPIO_Port, Teclado_F3_Pin);
		tecla[12]= 	HAL_GPIO_ReadPin(Teclado_F4_GPIO_Port, Teclado_F4_Pin);
		HAL_GPIO_WritePin(Teclado_C1_GPIO_Port, Teclado_C1_Pin, GPIO_PIN_RESET);
		//Prendo la Columna 2, veo si se activ� alguna entrada y luego la apago.
		HAL_GPIO_WritePin(Teclado_C2_GPIO_Port, Teclado_C2_Pin, GPIO_PIN_SET);
		tecla[1]= 	HAL_GPIO_ReadPin(Teclado_F1_GPIO_Port, Teclado_F1_Pin);
		tecla[5]= 	HAL_GPIO_ReadPin(Teclado_F2_GPIO_Port, Teclado_F2_Pin);
		tecla[9]= 	HAL_GPIO_ReadPin(Teclado_F3_GPIO_Port, Teclado_F3_Pin);
		tecla[13]= 	HAL_GPIO_ReadPin(Teclado_F4_GPIO_Port, Teclado_F4_Pin);
		HAL_GPIO_WritePin(Teclado_C2_GPIO_Port, Teclado_C2_Pin, GPIO_PIN_RESET);
		//Prendo la Columna 3, veo si se activ� alguna entrada y luego la apago.
		HAL_GPIO_WritePin(Teclado_C3_GPIO_Port, Teclado_C3_Pin, GPIO_PIN_SET);
		tecla[2]= 	HAL_GPIO_ReadPin(Teclado_F1_GPIO_Port, Teclado_F1_Pin);
		tecla[6]= 	HAL_GPIO_ReadPin(Teclado_F2_GPIO_Port, Teclado_F2_Pin);
		tecla[10]= 	HAL_GPIO_ReadPin(Teclado_F3_GPIO_Port, Teclado_F3_Pin);
		tecla[14]= 	HAL_GPIO_ReadPin(Teclado_F4_GPIO_Port, Teclado_F4_Pin);
		HAL_GPIO_WritePin(Teclado_C3_GPIO_Port, Teclado_C3_Pin, GPIO_PIN_RESET);
		//Prendo la Columna 2, veo si se activ� alguna entrada y luego la apago.
		HAL_GPIO_WritePin(Teclado_C4_GPIO_Port, Teclado_C4_Pin, GPIO_PIN_SET);
		tecla[3]= 	HAL_GPIO_ReadPin(Teclado_F1_GPIO_Port, Teclado_F1_Pin);
		tecla[7]= 	HAL_GPIO_ReadPin(Teclado_F2_GPIO_Port, Teclado_F2_Pin);
		tecla[11]= 	HAL_GPIO_ReadPin(Teclado_F3_GPIO_Port, Teclado_F3_Pin);
		tecla[15]= 	HAL_GPIO_ReadPin(Teclado_F4_GPIO_Port, Teclado_F4_Pin);
		HAL_GPIO_WritePin(Teclado_C4_GPIO_Port, Teclado_C4_Pin, GPIO_PIN_RESET);

		//Veo si alguna tecla fue presionada
		f_boton=0;
		i=0;
		while(!f_boton && i<16){
			f_boton=tecla[i];
			boton=i;
			i++;
		}
}

//-------------DISPLAY FUNCTIONS-------------------------//
void display_escribir(char* linea1, char* linea2){
	int i;
	char l1[17];
	char l2[17];

	//Inicializaci�n de l1 y l2. Ac� lleno 16 caracteres de espacios.
	for (i = 0; i < 16; i++) {
		sprintf(&l1[i], " ");
		sprintf(&l2[i], " ");
	}
	//Relleno de l1. Ac� lleno l1 con los caracteres que haya escrito como primer par�metro y dejo el resto como estaba (espacios).
	i = 0;
	while(linea1[i]){						//Ac� pregunto: "Si el caracter i de linea1 es un caracter..." En lugar de un End Of String.
			l1[i] = linea1[i];
			i++;
		}
	//Relleno de l2. Ac� lleno l2 con los caracteres que haya escrito como segundo par�metro y dejo el resto como estaba (espacios).
	i = 0;
	while (linea2[i]) {						//Ac� pregunto: "Si el caracter i de linea2 es un caracter..." En lugar de un End Of String.
			l2[i] = linea2[i];
			i++;
		}

	LCD_Clear();
	LCD_SetPos(0,0);
	LCD_String(l1);
	LCD_SetPos(0,1);
	LCD_String(l2);

}
//Esto anda re piola, pero cada vez que pulsas el bot�n toma como 300 pulsaciones.
//Esto anda re piola, lo de arriba ya no pasa.

void introducir_texto(void){
	char nombre[9];
	int j = 0;
	for (j = 0; j < 8; j++) {
		sprintf(&nombre[j], "A");
	}
	int boton=0;
	int op_vacio=1;
	char str_op_vacio[12];
	int offset;
	uint8_t escribir[26];
	for (j = 0; j < 26; j++) {
		escribir[j]=0;
	}
	j = 0;
	display_escribir("AGREGAR OPERARIO", "NOMBRE: AAAAAAAA");
	LCD_CursorOn();
	LCD_SetPos(8+j,1); //Porqe el "AAAAAAAA" arranca en la columna 9 (0-index) y la fila 2 (0-index)
	while (boton != b_Enter)
		{
				//Encuesta teclado
				encuesta_teclado();

				if(f_boton) {
				f_boton=0;
				switch (boton)
				{
				case b_Arriba:
					if (nombre[j] >= 65 && nombre[j] < 90) nombre[j]++;
					else if (nombre[j] == 32) nombre[j] = 65;
					else nombre[j] = 32;
					LCD_SendChar(nombre[j]);
					LCD_SetPos(8+j,1);
					break;

				case b_Abajo:
					if (nombre[j] > 65 && nombre[j] <= 90) nombre[j]--;
					else if (nombre[j] == 32) nombre[j] = 90;
					else nombre[j] = 32;
					LCD_SendChar(nombre[j]);
					LCD_SetPos(8+j,1);
					break;

				case b_Izquierda:
					if (j) j--;
					else j = 7;
					LCD_SetPos(8+j,1);
					break;

				case b_Derecha:
					if (j!=7) j++;
					else j = 0;
					LCD_SetPos(8+j,1);
					break;

				default:
					break;
				}
			}
			HAL_Delay(150);
		}//Esto es que apreto Enter, entonces, guarda el operario.

		while(operarios[op_vacio].condicion && op_vacio<=19){
			op_vacio++;
		}
		if(op_vacio==20){
			display_escribir("NO HAY ESPACIO","MEMORIA COMPLETA");
			instancia=Inicio;
		} else {//Esto lo hace si encontro lugar en la memoria.
			operarios[op_vacio].condicion=1;
			for(int i=0;i<9;i++){
				operarios[op_vacio].nombre[i]=nombre[i];
			}
			for(int i=0;i<5;i++){
				operarios[op_vacio].id[i]=CardID[i];
			}
			operarios[op_vacio].golpes=0;
			operarios[op_vacio].unidades=0;
			operarios[op_vacio].productividad=0;

			flash_guardar_operarios();
			sprintf(str_op_vacio, "ORDEN: %d OK",op_vacio);
			display_escribir("AGREGAR OPERARIO",str_op_vacio);

		}
}

void display_unidades(void){

	char linea1[16];
	char linea2[16];
	sprintf(str_unidades, "%ld", cont_unidades);
	display_escribir("2.2.TOT UNIDADES",str_unidades);

	LCD_Clear();
	LCD_SetPos(0,0);
	LCD_String(linea1);
	LCD_SetPos(0,1);
	LCD_String(linea2);
}

void conv_hex(void){

	for(int i=0;i<11;i++) id_display[i]=0x00;
	for(int i=0;i<10;i++){
		if(i%2){
			id_display[i]=operarios[operario_chequeado].id[i/2]&0xF;
		}else{
			id_display[i]=operarios[operario_chequeado].id[i/2]>>4;
		}
		switch(id_display[i]){
			case 0x0:
				id_display[i]=0x30;
				break;
			case 0x1:
				id_display[i]=0x31;
				break;
			case 0x2:
				id_display[i]=0x32;
				break;
			case 0x3:
				id_display[i]=0x33;
				break;
			case 0x4:
				id_display[i]=0x34;
				break;
			case 0x5:
				id_display[i]=0x35;
				break;
			case 0x6:
				id_display[i]=0x36;
				break;
			case 0x7:
				id_display[i]=0x37;
				break;
			case 0x8:
				id_display[i]=0x38;
				break;
			case 0x9:
				id_display[i]=0x39;
				break;
			case 0xA:
				id_display[i]=0x41;
				break;
			case 0xB:
				id_display[i]=0x42;
				break;
			case 0xC:
				id_display[i]=0x43;
				break;
			case 0xD:
				id_display[i]=0x44;
				break;
			case 0xE:
				id_display[i]=0x45;
				break;
			case 0xF:
				id_display[i]=0x46;
				break;
		}
	}
}
//-------------END DISPLAY FUNCTIONS-------------------//

//-------------FLASH FUNCTIONS-------------------------//

void flash_guardar_operarios(){
	int desfasaje=0;
	for (int i=0;i<20;i++){
		desfasaje=32*i;
		if(operarios[i].condicion){
			escribir[desfasaje]=(uint16_t)operarios[i].condicion;
			for (int k=0;k<9;k++){
				escribir[desfasaje+2+k]=operarios[i].nombre[k];
			}
			for (int k=0;k<5;k++){
				escribir[desfasaje+11+k]=operarios[i].id[k];
			}
			escribir[desfasaje+16]=(uint32_t)operarios[i].golpes;
			escribir[desfasaje+20]=(uint32_t)operarios[i].unidades;
			escribir[desfasaje+24]=(uint16_t)operarios[i].productividad;
			for (int k=0;k<6;k++){//Relleno los ultimos bytes de memoria con FF. Por las dudas
				escribir[desfasaje+26+k]=0xFF;
			}
		}else{
			for (int k=0;k<32;k++){
				escribir[desfasaje+k]=0x00;
			}
		}
	}
	MY_FLASH_WriteN(0,escribir,640,DATA_TYPE_8);
	HAL_Delay(10);
}

void flash_cargar_operarios(void){

	MY_FLASH_SetSectorAddrs(7,0x08060000);

	for (int i=0;i<20;i++){
		MY_FLASH_ReadN(32*i,leer,32,DATA_TYPE_8);
		HAL_Delay(10);
		if(leer[0]){
			operarios[i].condicion=((uint16_t)leer[1]<<8)|leer[0];
			for (int k=0;k<9;k++){
				operarios[i].nombre[k]=leer[2+k];
			}
			for (int k=0;k<5;k++){
				operarios[i].id[k]=leer[11+k];
			}
			operarios[i].golpes=((uint32_t)leer[19]<<24)|((uint32_t)leer[18]<<16)|((uint32_t)leer[17]<<8)|leer[16];
			operarios[i].unidades=((uint32_t)leer[23]<<24)|((uint32_t)leer[22]<<16)|((uint32_t)leer[21]<<8)|leer[20];
			operarios[i].productividad=((uint16_t)leer[25]<<8)|leer[24];
		}
	}
}

//-------------END FLASH FUNCTIONS---------------------//
/* USER CODE END 4 */

void _Error_Handler(char *file, int line)
{
  while(1)
  {
  }
}

/************************ (C) COPYRIGHT STMicroelectronics *****END OF FILE****/
